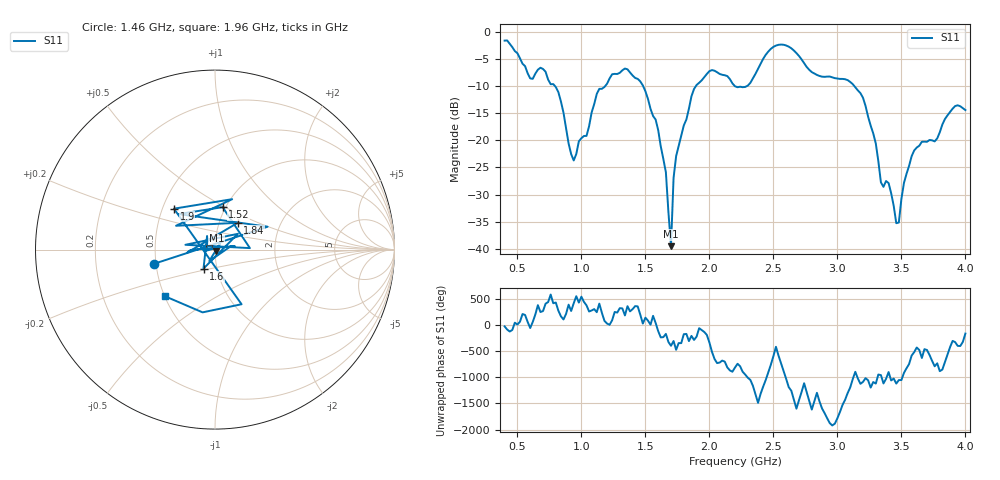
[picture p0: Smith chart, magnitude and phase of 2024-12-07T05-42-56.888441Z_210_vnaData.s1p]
!Created with skrf (http://scikit-rf.org).
# Hz S RI R 50.0
!freq ReS11 ImS11
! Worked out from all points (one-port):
!   181 points, 400 MHz to 4 GHz, reference 50 ohm
!   lowest |S11| = -39.5 dB at 1.7 GHz (marker M1), VSWR 1.02, Z = 50.8 - j0.68 ohm
!   |S11| at or under -10 dB: 792.8 MHz to 1.186 GHz (393.6 MHz wide, 39.8 % of centre); 1.482 GHz to 1.895 GHz (413.2 MHz wide, 24.5 % of centre); 3.132 GHz to end of sweep (the widest 3 of 4)
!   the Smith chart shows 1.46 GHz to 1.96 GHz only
!   S11 on the Smith chart (normalised r, x): 1.46 GHz: 0.49, -0.09; 1.52 GHz: 0.97, +0.49; 1.6 GHz: 0.86, -0.19; 1.84 GHz: 1.22, +0.38; 1.9 GHz: 0.57, +0.29; 1.96 GHz: 0.50, -0.31
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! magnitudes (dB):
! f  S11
! 400 MHz  -1.6
! 600 MHz  -8.6
! 720 MHz  -7.4
! 860 MHz  -14.9
! 940 MHz  -23.7
! 1.14 GHz  -10.5
! 1.3 GHz  -7.6
! 1.46 GHz  -9.2
! 1.52 GHz  -12.4
! 1.6 GHz  -18.2
! 1.66 GHz  -25.9
! 1.7 GHz  -39.5
! 1.72 GHz  -27.0
! 1.76 GHz  -21.0
! 1.84 GHz  -14.2
! 1.9 GHz  -9.8
! 1.96 GHz  -8.4
! 2.2 GHz  -10.1
! 2.5 GHz  -2.8
! 2.66 GHz  -3.5
! 3.1 GHz  -9.3
! 3.2 GHz  -12.2
! 3.3 GHz  -20.6
! 3.34 GHz  -27.8
! 3.4 GHz  -27.9
! 3.46 GHz  -35.3
! 3.56 GHz  -24.7
! 4 GHz  -14.4
